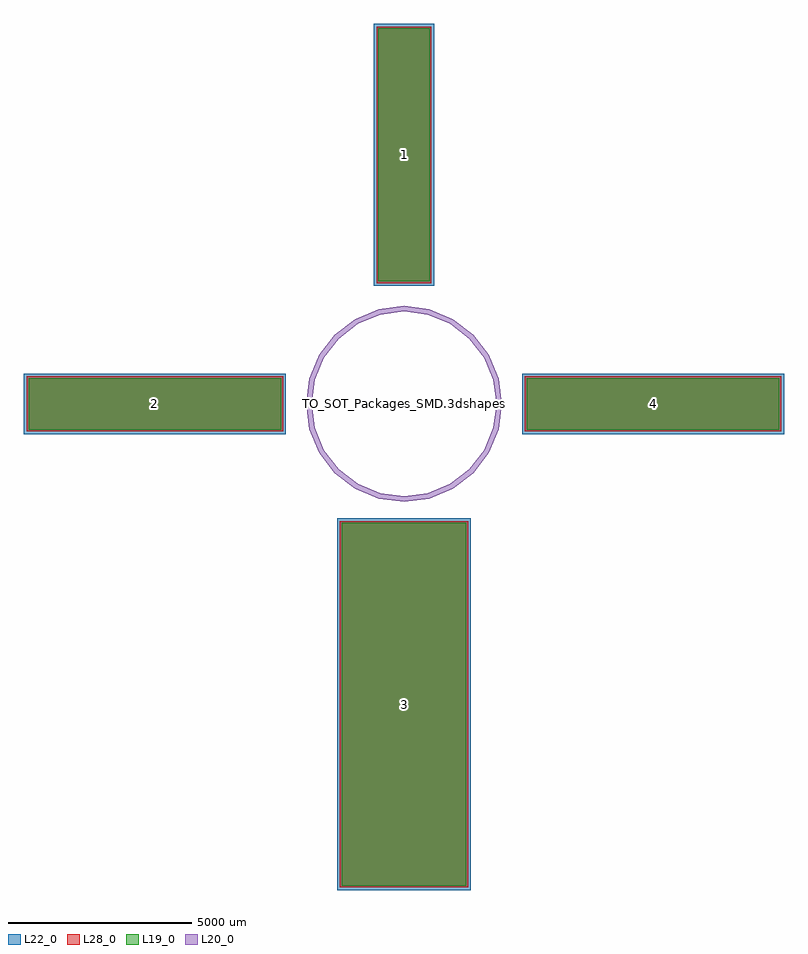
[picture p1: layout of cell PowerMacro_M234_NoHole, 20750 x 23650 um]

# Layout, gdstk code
import gdstk
lib = gdstk.Library(unit=1e-6, precision=1e-09)
def R(c, l, rs):  # rectangles x0, y0, x1, y1
    for r in rs: c.add(gdstk.rectangle(r[:2], r[2:], *l))
L19_0 = (19, 0)
L20_0 = (20, 0)
L22_0 = (22, 0)
L28_0 = (28, 0)

powermacro_m234_nohole = lib.new_cell('PowerMacro_M234_NoHole')
R(powermacro_m234_nohole, L19_0, [(-1700,-13150,1700,-3250), (-10250,-700,-3350,700), (3350,-700,10250,700), (-700,3350,700,10250)])
R(powermacro_m234_nohole, L22_0, [(-1825,-13275,1825,-3125), (-10375,-825,-3225,825), (3225,-825,10375,825), (-825,3225,825,10375)])
R(powermacro_m234_nohole, L28_0, [(-1750,-13200,1750,-3200), (-10300,-750,-3300,750), (3300,-750,10300,750), (-750,3300,750,10300)])
powermacro_m234_nohole.add(gdstk.FlexPath([(2600,0),(2511.407,672.93),(2251.666,1300),(1838.478,1838.478),(1300,2251.666),(672.93,2511.407),(0,2600),(-672.93,2511.407),(-1300,2251.666),(-1838.478,1838.478),(-2251.666,1300),(-2511.407,672.93),(-2600,0),(-2511.407,-672.93),(-2251.666,-1300),(-1838.478,-1838.478),(-1300,-2251.666),(-672.93,-2511.407),(0,-2600),(672.93,-2511.407),(1300,-2251.666),(1838.478,-1838.478),(2251.666,-1300),(2511.407,-672.93),(2600,0)], 149.998, ends="flush", simple_path=True, layer=20, datatype=0))  # L20_0
powermacro_m234_nohole.add(gdstk.Label('TO_SOT_Packages_SMD.3dshapes/PowerMacro_M234_NoHole.wrl', (0,0), layer=12, texttype=0))
powermacro_m234_nohole.add(gdstk.Label('4', (6800,0), layer=28, texttype=0))
powermacro_m234_nohole.add(gdstk.Label('3', (0,-8200), layer=28, texttype=0))
powermacro_m234_nohole.add(gdstk.Label('2', (-6800,0), layer=28, texttype=0))
powermacro_m234_nohole.add(gdstk.Label('1', (0,6800), layer=28, texttype=0))
powermacro_m234_nohole.add(gdstk.Label('type', (150,-17250), layer=9, texttype=0))
powermacro_m234_nohole.add(gdstk.Label('devicename', (-150,15950), layer=9, texttype=0))

lib.write_gds('PowerMacro_M234_NoHole.gds')
